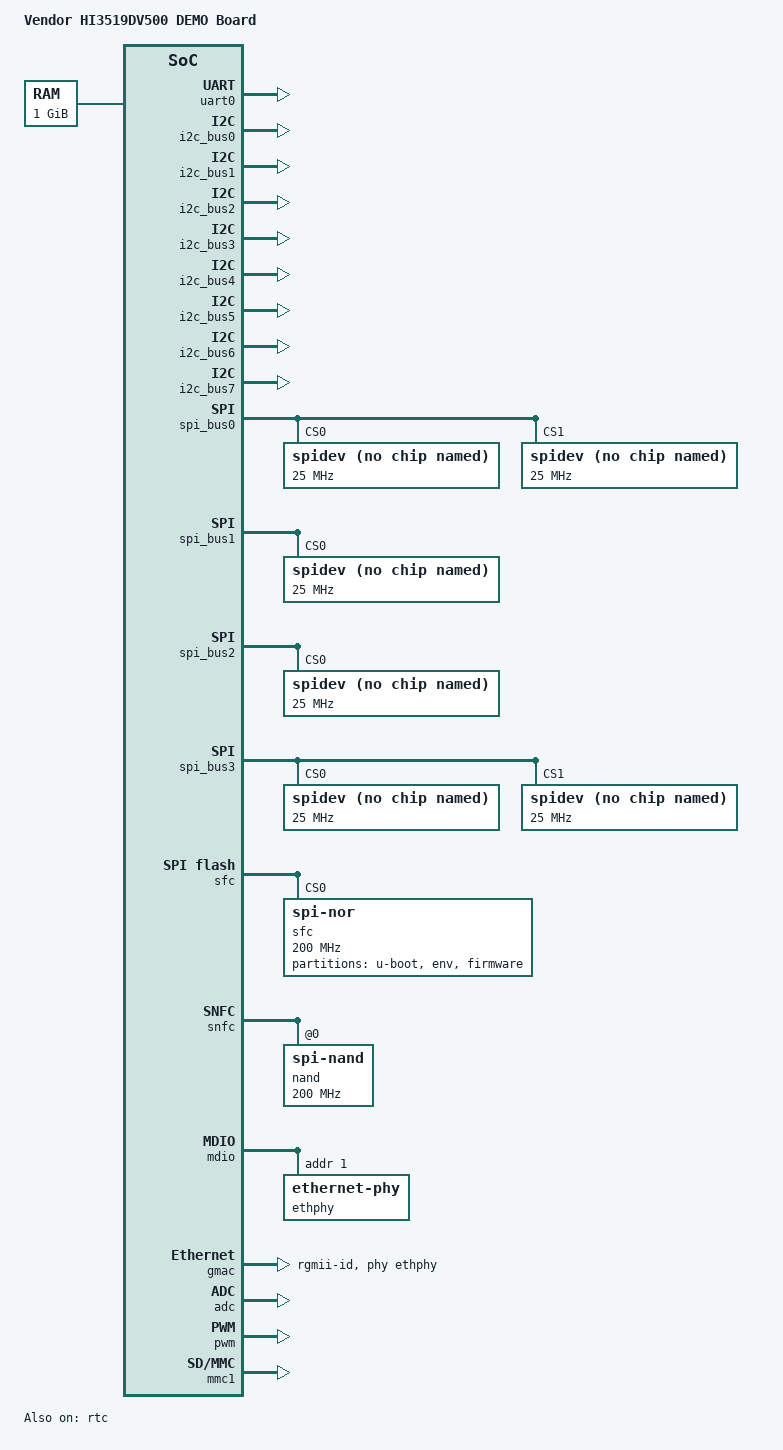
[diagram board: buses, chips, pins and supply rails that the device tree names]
/*
 * Copyright (c) HiSilicon (Shanghai) Technologies Co., Ltd. 2020-2023. All rights reserved.
 */

/dts-v1/;
/* reserved for warmreset */
/* reserved for arm trustedfirmware */
/* Modify this configuration according to the system framework */

#include "hi3519dv500.dtsi"

/ {
	model = "Vendor HI3519DV500 DEMO Board";
	compatible = "vendor,hi3519dv500";

	aliases {
		serial0 = &uart0;

		serial1 = &uart1;
		serial2 = &uart2;
		serial3 = &uart3;
		serial4 = &uart4;
		serial5 = &uart5;

		i2c0 = &i2c_bus0;
		i2c1 = &i2c_bus1;
		i2c2 = &i2c_bus2;
		i2c3 = &i2c_bus3;
		i2c4 = &i2c_bus4;
		i2c5 = &i2c_bus5;
		i2c6 = &i2c_bus6;
		i2c7 = &i2c_bus7;

		spi0 = &spi_bus0;
		spi1 = &spi_bus1;
		spi2 = &spi_bus2;
		spi3 = &spi_bus3;

		gpio0 = &gpio_chip0;
		gpio1 = &gpio_chip1;
		gpio2 = &gpio_chip2;
		gpio3 = &gpio_chip3;
		gpio4 = &gpio_chip4;
		gpio5 = &gpio_chip5;
		gpio6 = &gpio_chip6;
		gpio7 = &gpio_chip7;
		gpio8 = &gpio_chip8;
		gpio9 = &gpio_chip9;
		gpio10 = &gpio_chip10;
		gpio11 = &gpio_chip11;
		gpio12 = &gpio_chip12;
		gpio13 = &gpio_chip13;
		gpio14 = &gpio_chip14;
	};

	chosen {
		/* the bootloader's; no initrd */
		bootargs = "";
	};

	cpus {
		#address-cells = <2>;
		#size-cells = <0>;

		cpu@0 {
			compatible = "arm,cortex-a55";
			device_type = "cpu";
			reg = <0x0 0x0>;
			enable-method = "psci";
			//clock-latency = <100000>; /* From legacy driver */
		};

		cpu@1 {
			compatible = "arm,cortex-a55";
			device_type = "cpu";
			reg = <0x0 0x100>;
			enable-method = "psci";
			//clock-latency = <200000>; /* From legacy driver */
		};
	};

	memory {
		device_type = "memory";
		reg = <0x0 0x40030000 0x0 0x40000000>;
	};
};

&uart0 {
	status = "okay";
};

&uart1 {
	status = "disabled";
};

&uart2 {
	status = "disabled";
};

&uart3 {
	status = "disabled";
};

&uart4 {
	status = "disabled";
};
&uart5 {
	status = "disabled";
};

&rtc{
	status = "okay";
};

&i2c_bus0 {
	status = "okay";
};

&i2c_bus1 {
	status = "okay";
};

&i2c_bus2 {
	status = "okay";
};

&i2c_bus3 {
	status = "okay";
};

&i2c_bus4 {
	status = "okay";
};

&i2c_bus5 {
	status = "okay";
};

&i2c_bus6 {
	status = "okay";
};

&i2c_bus7 {
	status = "okay";
};

&spi_bus0{
	status = "okay";

	spidev@0 {
		compatible = "rohm,dh2228fv";
		reg = <0>;
		pl022,interface = <0>;
		pl022,com-mode = <0>;
		spi-max-frequency = <25000000>;
	};
	spidev@1 {
		compatible = "rohm,dh2228fv";
		reg = <1>;
		pl022,interface = <0>;
		pl022,com-mode = <0>;
		spi-max-frequency = <25000000>;
	};
};

&spi_bus1{
	status = "okay";
	spidev@0 {
		compatible = "rohm,dh2228fv";
		reg = <0>;
		pl022,interface = <0>;
		pl022,com-mode = <0>;
		spi-max-frequency = <25000000>;
	};
};

&spi_bus2{
	status = "okay";
	spidev@0 {
		compatible = "rohm,dh2228fv";
		reg = <0>;
		pl022,interface = <0>;
		pl022,com-mode = <0>;
		spi-max-frequency = <25000000>;
	};
};

&spi_bus3{
	status = "okay";

	spidev@0 {
		compatible = "rohm,dh2228fv";
		reg = <0>;
		pl022,interface = <0>;
		pl022,com-mode = <0>;
		spi-max-frequency = <25000000>;
	};
	spidev@1 {
		compatible = "rohm,dh2228fv";
		reg = <1>;
		pl022,interface = <0>;
		pl022,com-mode = <0>;
		spi-max-frequency = <25000000>;
	};
};

&gpio_chip0 {
	status = "okay";
};

&gpio_chip1 {
	status = "okay";
};

&gpio_chip2 {
	status = "okay";
};

&gpio_chip3 {
	status = "okay";
};

&gpio_chip4 {
	status = "okay";
};

&gpio_chip5 {
	status = "okay";
};

&gpio_chip6 {
	status = "okay";
};

&gpio_chip7 {
	status = "okay";
};

&gpio_chip8 {
	status = "okay";
};

&gpio_chip9 {
	status = "okay";
};

&gpio_chip10 {
	status = "okay";
};

&gpio_chip11 {
	status = "okay";
};

&gpio_chip12 {
	status = "okay";
};

&gpio_chip13 {
	status = "okay";
};

&gpio_chip14 {
	status = "okay";
};

&sfc {
	sfc@0 {
		compatible = "jedec,spi-nor";
		reg = <0>;
		spi-max-frequency = <200000000>;
		m25p,fast-read;

		/*
		 * The split NOR layout: the signed boot image (512K), the U-Boot
		 * environment (256K), and one "firmware" partition from 0xc0000
		 * to the end of the chip, which mtdsplit divides into kernel,
		 * rootfs and rootfs_data. The driver takes it over a bootloader's
		 * mtdparts only when the flash holds that shape (a uImage, then
		 * the squashfs at the next block).
		 */
		partitions {
			compatible = "fixed-partitions";
			#address-cells = <1>;
			#size-cells = <1>;

			u-boot@0 {
				label = "u-boot";
				reg = <0x0 0x80000>;
			};

			env@80000 {
				label = "env";
				reg = <0x80000 0x40000>;
			};

			firmware@c0000 {
				label = "firmware";
				reg = <0xc0000 0x0>;
			};
		};
	};
};

&snfc {
	nand@0 {
		compatible = "jedec,spi-nand";
		reg = <0>;
		spi-max-frequency = <200000000>;
	};
};

&mdio {
	ethphy: ethernet-phy@1 {
		reg = <1>;
	};
};

&gmac {
	phy-handle = <&ethphy>;
	phy-mode = "rgmii-id";
};

&edmacv310_0 {
	status = "disabled";
};

&adc {
	status = "okay";
};

&pwm {
	status = "okay";
};

&mmc1 {
	status = "okay";
};

&mmc2 {
	status = "disabled";
};
